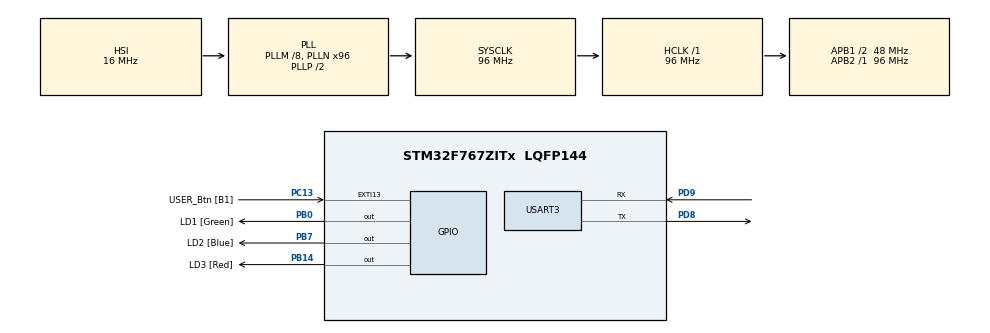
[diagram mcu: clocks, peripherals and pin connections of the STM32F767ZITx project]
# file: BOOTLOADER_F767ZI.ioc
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Mcu.Family=STM32F7
Mcu.Name=STM32F767ZITx
Mcu.Package=LQFP144
NVIC.PriorityGroup=NVIC_PRIORITYGROUP_4
PB0.GPIO_Label=LD1 [Green]
PB0.Signal=GPIO_Output
PB14.GPIO_Label=LD3 [Red]
PB14.Signal=GPIO_Output
PB7.GPIO_Label=LD2 [Blue]
PB7.Signal=GPIO_Output
PC13.GPIO_Label=USER_Btn [B1]
PC13.Signal=GPXTI13
PD8.Mode=Asynchronous
PD8.Signal=USART3_TX
PD9.Mode=Asynchronous
PD9.Signal=USART3_RX
ProjectManager.HeapSize=0x200
ProjectManager.StackSize=0x400
ProjectManager.TargetToolchain=STM32CubeIDE
RCC.48MHZClocksFreq_Value=24000000
RCC.AHBFreq_Value=96000000
RCC.APB1CLKDivider=RCC_HCLK_DIV2
RCC.APB1Freq_Value=48000000
RCC.APB1TimFreq_Value=96000000
RCC.APB2Freq_Value=96000000
RCC.APB2TimFreq_Value=96000000
RCC.CortexFreq_Value=96000000
RCC.HCLKFreq_Value=96000000
RCC.HSE_VALUE=8000000
RCC.HSI_VALUE=16000000
RCC.LSE_VALUE=32768
RCC.PLLM=8
RCC.PLLMUL=RCC_PLL_MUL9
RCC.PLLN=96
RCC.PLLQ=4
RCC.PRESCALERUSB=RCC_USBCLKSOURCE_PLL_DIV1_5
RCC.SYSCLKFreq_VALUE=96000000
RCC.SYSCLKSource=RCC_SYSCLKSOURCE_PLLCLK
RCC.SYSCLKSourceVirtual=RCC_SYSCLKSOURCE_PLLCLK
RCC.USBFreq_Value=48000000
RCC.VCOOutputFreq_Value=192000000
USART3.VirtualMode-Asynchronous=VM_ASYNC
board=NUCLEO-F767ZI

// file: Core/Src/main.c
/* USER CODE BEGIN Header */
/**
  ******************************************************************************
  * @file           : main.c
  * @brief          : Main program body
  ******************************************************************************
  * @attention
  *
  * Copyright (c) 2025 STMicroelectronics.
  * All rights reserved.
  *
  * This software is licensed under terms that can be found in the LICENSE file
  * in the root directory of this software component.
  * If no LICENSE file comes with this software, it is provided AS-IS.
  *
  ******************************************************************************
  */
/* USER CODE END Header */
#include "main.h"

/* USER CODE BEGIN Includes */
#include <string.h>

/* USER CODE END Includes */

UART_HandleTypeDef huart3;

void SystemClock_Config(void);
static void MX_GPIO_Init(void);
static void MX_USART3_UART_Init(void);
/* USER CODE BEGIN PFP */

int write(char *ptr);
static void goto_application(void);

/* USER CODE END PFP */

int main(void)
{

  /* MCU Configuration--------------------------------------------------------*/

  /* Reset of all peripherals, Initializes the Flash interface and the Systick. */
  HAL_Init();

  /* Configure the system clock */
  SystemClock_Config();

  /* Initialize all configured peripherals */
  MX_GPIO_Init();
  MX_USART3_UART_Init();
  /* USER CODE BEGIN 2 */

  write("\nStarting bootloader");

  HAL_GPIO_WritePin(GPIOB, GPIO_PIN_0, GPIO_PIN_SET);
  HAL_Delay(2000);
  HAL_GPIO_WritePin(GPIOB, GPIO_PIN_0, GPIO_PIN_RESET);

  goto_application();

  /* USER CODE END 2 */

  /* Infinite loop */
  while (1)
  {

  }
}

void SystemClock_Config(void)
{
  RCC_OscInitTypeDef RCC_OscInitStruct = {0};
  RCC_ClkInitTypeDef RCC_ClkInitStruct = {0};

  /** Configure the main internal regulator output voltage
  */
  __HAL_RCC_PWR_CLK_ENABLE();
  __HAL_PWR_VOLTAGESCALING_CONFIG(PWR_REGULATOR_VOLTAGE_SCALE3);

  /** Initializes the RCC Oscillators according to the specified parameters
  * in the RCC_OscInitTypeDef structure.
  */
  RCC_OscInitStruct.OscillatorType = RCC_OSCILLATORTYPE_HSI;
  RCC_OscInitStruct.HSIState = RCC_HSI_ON;
  RCC_OscInitStruct.HSICalibrationValue = RCC_HSICALIBRATION_DEFAULT;
  RCC_OscInitStruct.PLL.PLLState = RCC_PLL_ON;
  RCC_OscInitStruct.PLL.PLLSource = RCC_PLLSOURCE_HSI;
  RCC_OscInitStruct.PLL.PLLM = 8;
  RCC_OscInitStruct.PLL.PLLN = 96;
  RCC_OscInitStruct.PLL.PLLP = RCC_PLLP_DIV2;
  RCC_OscInitStruct.PLL.PLLQ = 4;
  RCC_OscInitStruct.PLL.PLLR = 2;
  if (HAL_RCC_OscConfig(&RCC_OscInitStruct) != HAL_OK)
  {
    Error_Handler();
  }

  /** Activate the Over-Drive mode
  */
  if (HAL_PWREx_EnableOverDrive() != HAL_OK)
  {
    Error_Handler();
  }

  /** Initializes the CPU, AHB and APB buses clocks
  */
  RCC_ClkInitStruct.ClockType = RCC_CLOCKTYPE_HCLK|RCC_CLOCKTYPE_SYSCLK
                              |RCC_CLOCKTYPE_PCLK1|RCC_CLOCKTYPE_PCLK2;
  RCC_ClkInitStruct.SYSCLKSource = RCC_SYSCLKSOURCE_PLLCLK;
  RCC_ClkInitStruct.AHBCLKDivider = RCC_SYSCLK_DIV1;
  RCC_ClkInitStruct.APB1CLKDivider = RCC_HCLK_DIV2;
  RCC_ClkInitStruct.APB2CLKDivider = RCC_HCLK_DIV1;

  if (HAL_RCC_ClockConfig(&RCC_ClkInitStruct, FLASH_LATENCY_3) != HAL_OK)
  {
    Error_Handler();
  }
}

static void MX_USART3_UART_Init(void)
{

  huart3.Instance = USART3;
  huart3.Init.BaudRate = 115200;
  huart3.Init.WordLength = UART_WORDLENGTH_8B;
  huart3.Init.StopBits = UART_STOPBITS_1;
  huart3.Init.Parity = UART_PARITY_NONE;
  huart3.Init.Mode = UART_MODE_TX_RX;
  huart3.Init.HwFlowCtl = UART_HWCONTROL_NONE;
  huart3.Init.OverSampling = UART_OVERSAMPLING_16;
  huart3.Init.OneBitSampling = UART_ONE_BIT_SAMPLE_DISABLE;
  huart3.AdvancedInit.AdvFeatureInit = UART_ADVFEATURE_NO_INIT;
  if (HAL_UART_Init(&huart3) != HAL_OK)
  {
    Error_Handler();
  }

}

static void MX_GPIO_Init(void)
{
  GPIO_InitTypeDef GPIO_InitStruct = {0};

  /* GPIO Ports Clock Enable */
  __HAL_RCC_GPIOC_CLK_ENABLE();
  __HAL_RCC_GPIOB_CLK_ENABLE();
  __HAL_RCC_GPIOD_CLK_ENABLE();

  /*Configure GPIO pin Output Level */
  HAL_GPIO_WritePin(GPIOB, LD1_Pin|LD3_Pin|LD2_Pin, GPIO_PIN_RESET);

  /*Configure GPIO pin : USER_Btn_Pin */
  GPIO_InitStruct.Pin = USER_Btn_Pin;
  GPIO_InitStruct.Mode = GPIO_MODE_IT_RISING;
  GPIO_InitStruct.Pull = GPIO_NOPULL;
  HAL_GPIO_Init(USER_Btn_GPIO_Port, &GPIO_InitStruct);

  /*Configure GPIO pins : LD1_Pin LD3_Pin LD2_Pin */
  GPIO_InitStruct.Pin = LD1_Pin|LD3_Pin|LD2_Pin;
  GPIO_InitStruct.Mode = GPIO_MODE_OUTPUT_PP;
  GPIO_InitStruct.Pull = GPIO_NOPULL;
  GPIO_InitStruct.Speed = GPIO_SPEED_FREQ_LOW;
  HAL_GPIO_Init(GPIOB, &GPIO_InitStruct);

}

/* USER CODE BEGIN 4 */

int write(char *ptr){
	HAL_UART_Transmit(&huart3, (uint8_t*)ptr, strlen(ptr), HAL_MAX_DELAY);
	return strlen(ptr);
}

static void goto_application(void)
{
	write("\nJumping to application");
	void (*app_reset_handler) (void) = (void*) (*(volatile uint32_t *) (0x08040000 + 4));
	app_reset_handler();
}

/* USER CODE END 4 */

void Error_Handler(void)
{
  __disable_irq();
  while (1)
  {
  }
}
